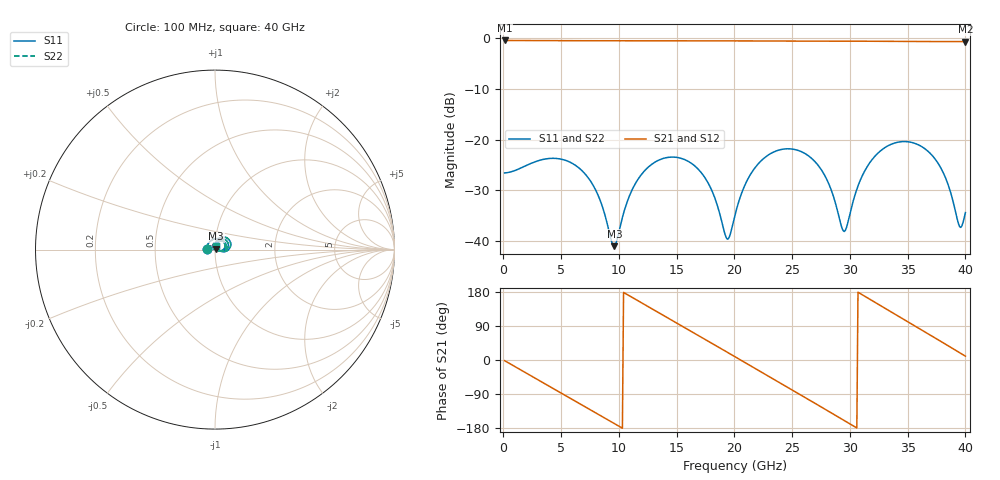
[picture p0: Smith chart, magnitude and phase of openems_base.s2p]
! thru_BV_vna_rf_hblb1_in: 2×thru F.Cu, 8 mm
! stackup: as the board case
! ports: 1 near, 2 far
! openEMS 0.37.0, staircase, base mesh (dfine 0.035 mm), 559872 cells
# Hz S RI R 50
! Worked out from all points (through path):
!   400 points, 100 MHz to 40 GHz, reference 50 ohm
!   highest |S21| = -0.42 dB at 100 MHz (marker M1); lowest = -0.6 dB at 40 GHz (marker M2)
!   group delay of S21, straight-line fit = 49.2 ps
!   lowest |S11| = -41.0 dB at 9.6 GHz (marker M3), VSWR 1.02, Z = 50.7 + j0.523 ohm
!   |S11| at or under -10 dB: start of sweep to end of sweep
!   |S22| runs from -41.0 to -20.4 dB; largest |S21 - S12| = 0
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1e8  -0.0469 0.0032  0.9522 -0.0292  0.9522 -0.0292  -0.0469 0.0032
3.7e9  0.0279 0.0584  0.405 -0.8582  0.405 -0.8582  0.0279 0.0584
6.8e9  0.0494 0.00322  -0.4551 -0.8304  -0.4551 -0.8304  0.0494 0.00322
8.2e9  0.0274 -0.00689  -0.758 -0.5679  -0.758 -0.5679  0.0274 -0.00689
9.6e9  0.00726 0.00516  -0.9255 -0.2025  -0.9255 -0.2025  0.00726 0.00516
1.12e10  0.00632 0.0325  -0.9115 0.2563  -0.9115 0.2563  0.00632 0.0325
1.34e10  0.0405 0.0475  -0.5516 0.7673  -0.5516 0.7673  0.0405 0.0475
1.65e10  0.0559 0.00264  0.3022 0.8942  0.3022 0.8942  0.0559 0.00264
1.8e10  0.0314 -0.00772  0.6688 0.6664  0.6688 0.6664  0.0314 -0.00772
1.93e10  0.00996 0.00403  0.8758 0.3523  0.8758 0.3523  0.00996 0.00403
2.01e10  0.00352 0.0187  0.935 0.1271  0.935 0.1271  0.00352 0.0187
2.16e10  0.0122 0.0479  0.8915 -0.3044  0.8915 -0.3044  0.0122 0.0479
2.38e10  0.0559 0.0554  0.4996 -0.795  0.4996 -0.795  0.0559 0.0554
2.67e10  0.0652 0.0019  -0.3109 -0.8848  -0.3109 -0.8848  0.0652 0.0019
2.81e10  0.0373 -0.00882  -0.6564 -0.6705  -0.6564 -0.6705  0.0373 -0.00882
2.95e10  0.0103 0.007  -0.8791 -0.3278  -0.8791 -0.3278  0.0103 0.007
3.12e10  0.00751 0.0466  -0.9214 0.1658  -0.9214 0.1658  0.00751 0.0466
3.34e10  0.0545 0.0694  -0.6005 0.7126  -0.6005 0.7126  0.0545 0.0694
3.65e10  0.0811 0.00643  0.2539 0.8938  0.2539 0.8938  0.0811 0.00643
3.82e10  0.0426 -0.0118  0.6781 0.6361  0.6781 0.6361  0.0426 -0.0118
3.95e10  0.0127 0.00551  0.8771 0.3074  0.8771 0.3074  0.0127 0.00551
4e10  0.00639 0.018  0.9145 0.163  0.9145 0.163  0.00639 0.018
